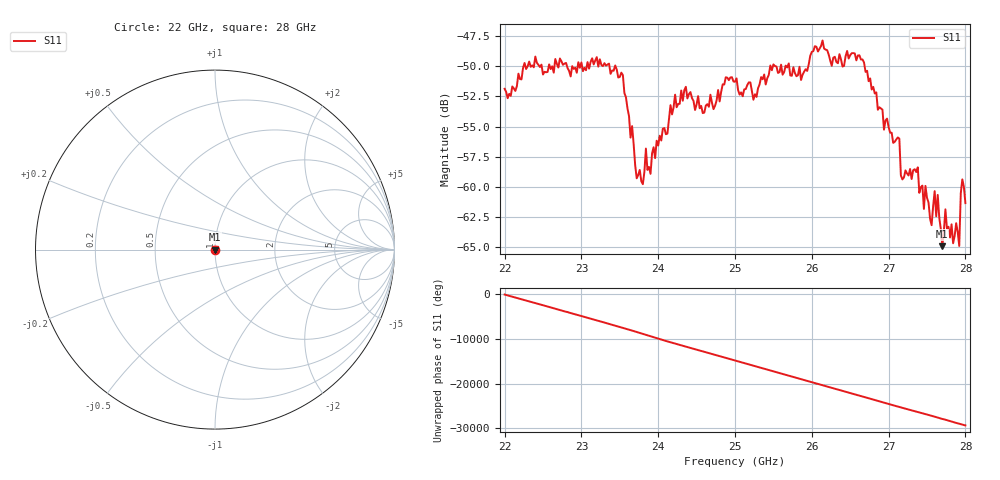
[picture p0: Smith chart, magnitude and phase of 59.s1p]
#  HZ  S  RI  R  50.00
! Rohde & Schwarz ZVA40 4Ports - Version 3.90 - 1145.1110k42 SN: 100403
! Date: 2023-10-04 08:54:40
! Measurement: S12
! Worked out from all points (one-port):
!   301 points, 22 GHz to 28 GHz, reference 50 ohm
!   lowest |S11| = -64.9 dB at 27.7 GHz (marker M1), VSWR 1.00, Z = 50 + j0.0369 ohm
!   |S11| at or under -10 dB: start of sweep to end of sweep
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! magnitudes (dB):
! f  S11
! 22 GHz  -51.9
! 22.4 GHz  -49.2
! 22.76 GHz  -49.9
! 23.5 GHz  -50.9
! 23.66 GHz  -55.0
! 23.72 GHz  -59.3
! 23.8 GHz  -59.8
! 23.84 GHz  -56.8
! 23.9 GHz  -58.9
! 24.26 GHz  -53.1
! 25 GHz  -51.3
! 25.24 GHz  -52.8
! 25.46 GHz  -49.9
! 25.76 GHz  -50.1
! 25.86 GHz  -51.1
! 26.14 GHz  -47.9
! 26.26 GHz  -50.0
! 26.5 GHz  -49.1
! 26.68 GHz  -49.7
! 27.26 GHz  -59.1
! 27.38 GHz  -58.4
! 27.56 GHz  -63.2
! 27.64 GHz  -60.7
! 27.7 GHz  -64.9
! 27.74 GHz  -61.9
! 27.92 GHz  -64.9
! 27.96 GHz  -59.4
! 28 GHz  -61.3
